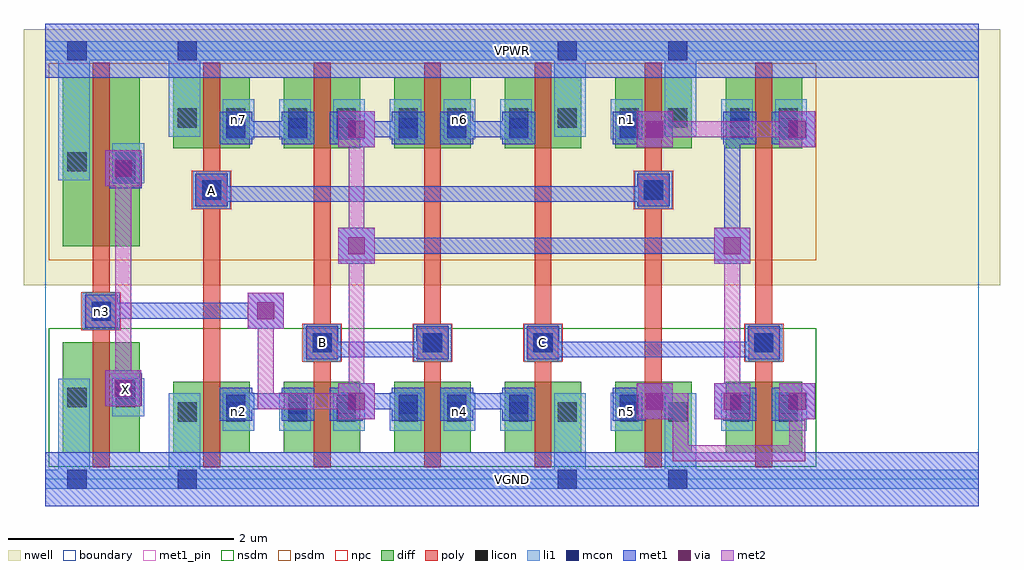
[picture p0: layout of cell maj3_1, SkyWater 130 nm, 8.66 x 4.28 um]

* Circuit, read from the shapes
.subckt maj3_1 A B C VGND VPWR X n1 n2 n3 n4 n5 n6 n7
XM1 X n3 VGND VSUBS sky130_fd_pr__nfet_01v8 w=0.98 l=0.15
XM2 n2 A VGND VSUBS sky130_fd_pr__nfet_01v8 w=0.63 l=0.15
XM3 n3 B n2 VSUBS sky130_fd_pr__nfet_01v8 w=0.63 l=0.15
XM4 n4 B n3 VSUBS sky130_fd_pr__nfet_01v8 w=0.63 l=0.15
XM5 VGND C n4 VSUBS sky130_fd_pr__nfet_01v8 w=0.63 l=0.15
XM6 VGND A n5 VSUBS sky130_fd_pr__nfet_01v8 w=0.63 l=0.15
XM7 n5 C n3 VSUBS sky130_fd_pr__nfet_01v8 w=0.63 l=0.15
XM8 X n3 VPWR n8 sky130_fd_pr__pfet_01v8 w=1.5 l=0.15
XM9 n7 A VPWR n8 sky130_fd_pr__pfet_01v8 w=0.63 l=0.15
XM10 n3 B n7 n8 sky130_fd_pr__pfet_01v8 w=0.63 l=0.15
XM11 n6 B n3 n8 sky130_fd_pr__pfet_01v8 w=0.63 l=0.15
XM12 VPWR C n6 n8 sky130_fd_pr__pfet_01v8 w=0.63 l=0.15
XM13 VPWR A n1 n8 sky130_fd_pr__pfet_01v8 w=0.63 l=0.15
XM14 n1 C n3 n8 sky130_fd_pr__pfet_01v8 w=0.63 l=0.15
.ends

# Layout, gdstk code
import gdstk
lib = gdstk.Library(unit=1e-6, precision=1e-09)
def R(c, l, rs):  # rectangles x0, y0, x1, y1
    for r in rs: c.add(gdstk.rectangle(r[:2], r[2:], *l))
def A(c, l, x, y, w, h, nx, ny, dx, dy):  # array of equal rectangles
    R(c, l, [(x+i*dx, y+j*dy, x+i*dx+w, y+j*dy+h) for i in range(nx) for j in range(ny)])
nwell = (64, 20)
diff = (65, 20)
poly = (66, 20)
licon = (66, 44)
li1 = (67, 20)
mcon = (67, 44)
met1_pin = (68, 16)
met1 = (68, 20)
via = (68, 44)
met2 = (69, 20)
nsdm = (93, 44)
psdm = (94, 20)
npc = (95, 20)
boundary = (235, 4)

maj3_1 = lib.new_cell('maj3_1')
R(maj3_1, nwell, [(-0.19,1.72,8.47,3.99), (0,1.72,8.28,3.99)])
A(maj3_1, diff, 1.135, 0.235, 0.68, 0.63, 6, 2, 0.98, 2.7)
R(maj3_1, diff, [(0.155,0.235,0.835,1.215), (0.155,2.065,0.835,3.565)])
A(maj3_1, poly, 0.42, 0.105, 0.15, 3.59, 7, 1, 0.98, 0)
A(maj3_1, poly, 2.32, 1.04, 0.27, 0.34, 3, 1, 0.98, 0)
R(maj3_1, poly, [(6.24,1.04,6.51,1.38), (0.36,1.32,0.63,1.66), (1.34,2.395,1.61,2.735), (5.26,2.395,5.53,2.735)])
A(maj3_1, licon, 2.37, 1.125, 0.17, 0.17, 3, 1, 0.98, 0)
R(maj3_1, licon, [(1.175,0.51,1.345,0.68), (1.605,0.51,1.775,0.68), (2.155,0.51,2.325,0.68), (2.585,0.51,2.755,0.68), (3.135,0.51,3.305,0.68), (3.565,0.51,3.735,0.68), (4.115,0.51,4.285,0.68), (4.545,0.51,4.715,0.68), (5.095,0.51,5.265,0.68), (5.525,0.51,5.695,0.68), (6.075,0.51,6.245,0.68), (6.505,0.51,6.675,0.68), (0.195,0.64,0.365,0.81), (0.625,0.64,0.795,0.81), (6.29,1.125,6.46,1.295), (0.41,1.405,0.58,1.575), (1.39,2.48,1.56,2.65), (5.31,2.48,5.48,2.65), (0.195,2.73,0.365,2.9), (0.625,2.73,0.795,2.9), (1.175,3.12,1.345,3.29), (1.605,3.12,1.775,3.29), (2.155,3.12,2.325,3.29), (2.585,3.12,2.755,3.29), (3.135,3.12,3.305,3.29), (3.565,3.12,3.735,3.29), (4.115,3.12,4.285,3.29), (4.545,3.12,4.715,3.29), (5.095,3.12,5.265,3.29), (5.525,3.12,5.695,3.29), (6.075,3.12,6.245,3.29), (6.505,3.12,6.675,3.29)])
A(maj3_1, li1, 4.035, 0.43, 0.28, 0.335, 3, 1, 0.98, 0)
A(maj3_1, li1, 2.29, 1.045, 0.33, 0.33, 3, 1, 0.98, 0)
A(maj3_1, li1, 4.035, 3.015, 0.28, 0.355, 3, 1, 0.98, 0)
R(maj3_1, li1, [(0,-0.085,8.28,0.085), (0.115,-0.085,0.395,0.89), (1.095,-0.085,1.375,0.76), (4.515,-0.085,4.795,0.76), (5.495,-0.085,5.775,0.76), (1.575,0.43,1.855,0.765), (2.075,0.43,2.355,0.765), (2.555,0.43,2.835,0.765), (3.055,0.43,3.335,0.765), (3.535,0.43,3.815,0.765), (6.475,0.43,6.755,0.765), (0.595,0.56,0.875,0.895), (6.21,1.045,6.54,1.375), (0.33,1.325,0.66,1.655), (1.31,2.4,1.64,2.73), (5.23,2.4,5.56,2.73), (0.595,2.625,0.875,2.98), (0.115,2.65,0.395,3.885), (1.575,3.015,1.855,3.37), (2.075,3.015,2.355,3.37), (2.555,3.015,2.835,3.37), (3.055,3.015,3.335,3.37), (3.535,3.015,3.815,3.37), (6.475,3.015,6.755,3.37), (1.095,3.04,1.375,3.885), (4.515,3.04,4.795,3.885), (5.495,3.04,5.775,3.885), (0,3.715,8.28,3.885)])
A(maj3_1, mcon, 4.115, 0.58, 0.17, 0.17, 3, 2, 0.98, 2.45)
A(maj3_1, mcon, 2.37, 1.125, 0.17, 0.17, 3, 1, 0.98, 0)
R(maj3_1, mcon, [(0.195,-0.085,0.365,0.085), (1.175,-0.085,1.345,0.085), (4.545,-0.085,4.715,0.085), (5.525,-0.085,5.695,0.085), (1.605,0.58,1.775,0.75), (2.155,0.58,2.325,0.75), (2.585,0.58,2.755,0.75), (3.135,0.58,3.305,0.75), (3.565,0.58,3.735,0.75), (6.505,0.58,6.675,0.75), (0.625,0.71,0.795,0.88), (6.29,1.125,6.46,1.295), (0.41,1.405,0.58,1.575), (1.39,2.48,1.56,2.65), (5.31,2.48,5.48,2.65), (0.625,2.64,0.795,2.81), (1.605,3.03,1.775,3.2), (2.155,3.03,2.325,3.2), (2.585,3.03,2.755,3.2), (3.135,3.03,3.305,3.2), (3.565,3.03,3.735,3.2), (6.505,3.03,6.675,3.2), (0.195,3.715,0.365,3.885), (1.175,3.715,1.345,3.885), (4.545,3.715,4.715,3.885), (5.525,3.715,5.695,3.885)])
R(maj3_1, met1_pin, [(0,-0.24,8.28,0.24), (0.565,0.65,0.855,0.94), (2.31,1.065,2.6,1.355), (4.27,1.065,4.56,1.355), (1.33,2.42,1.62,2.71), (0,3.56,8.28,4.04)])
A(maj3_1, met1, 4.055, 0.52, 0.29, 0.29, 3, 2, 0.98, 2.45)
A(maj3_1, met1, 1.655, 0.62, 0.14, 0.14, 3, 2, 0.46, 2.415)
A(maj3_1, met1, 3.15, 0.62, 0.14, 0.14, 3, 2, 0.46, 2.415)
A(maj3_1, met1, 2.31, 1.065, 0.29, 0.29, 3, 1, 0.98, 0)
R(maj3_1, met1, [(0,-0.24,8.28,0.24), (1.545,0.52,1.835,0.81), (2.095,0.52,2.385,0.81), (2.525,0.52,2.815,0.81), (3.075,0.52,3.365,0.81), (3.505,0.52,3.795,0.81), (6.445,0.52,6.735,0.81), (2.6,0.53,2.92,0.85), (5.245,0.53,5.565,0.85), (5.935,0.53,6.255,0.85), (6.51,0.53,6.83,0.85), (1.655,0.62,2.255,0.76), (2.575,0.62,2.83,0.76), (2.69,0.62,3.29,0.76), (3.61,0.62,4.21,0.76), (5.105,0.62,5.245,0.76), (5.105,0.62,5.475,0.76), (6.025,0.62,6.165,0.76), (6.485,0.62,6.625,0.76), (6.485,0.62,6.74,0.76), (0.53,0.645,0.85,0.965), (0.565,0.65,0.855,0.94), (0.62,0.735,0.76,0.875), (6.23,1.065,6.52,1.355), (2.46,1.08,2.6,1.22), (2.46,1.08,3.52,1.22), (3.38,1.08,3.52,1.22), (4.415,1.08,4.555,1.22), (4.415,1.08,6.395,1.22), (6.255,1.08,6.395,1.22), (1.795,1.335,2.115,1.655), (0.35,1.345,0.64,1.635), (0.39,1.425,0.53,1.565), (0.39,1.425,2.025,1.565), (2.6,1.91,2.92,2.23), (5.935,1.91,6.255,2.23), (2.69,2,6.165,2.14), (6.025,2,6.165,3.175), (1.33,2.42,1.62,2.71), (5.25,2.42,5.54,2.71), (1.425,2.46,1.565,2.6), (1.425,2.46,5.475,2.6), (5.335,2.46,5.475,2.6), (0.565,2.58,0.855,2.87), (0.53,2.6,0.85,2.92), (0.62,2.69,0.76,2.83), (2.6,2.945,2.92,3.265), (5.245,2.945,5.565,3.265), (6.51,2.945,6.83,3.265), (1.545,2.97,1.835,3.26), (2.095,2.97,2.385,3.26), (2.525,2.97,2.815,3.26), (3.075,2.97,3.365,3.26), (3.505,2.97,3.795,3.26), (6.445,2.97,6.735,3.26), (1.655,3.035,2.255,3.175), (2.575,3.035,2.83,3.175), (2.69,3.035,3.29,3.175), (3.61,3.035,4.21,3.175), (5.105,3.035,5.245,3.175), (5.105,3.035,5.475,3.175), (6.025,3.035,6.165,3.175), (6.485,3.035,6.625,3.175), (6.485,3.035,6.74,3.175), (0,3.56,8.28,4.04)])
R(maj3_1, via, [(2.685,0.615,2.835,0.765), (5.33,0.615,5.48,0.765), (6.02,0.615,6.17,0.765), (6.595,0.615,6.745,0.765), (0.615,0.73,0.765,0.88), (1.88,1.42,2.03,1.57), (2.685,1.995,2.835,2.145), (6.02,1.995,6.17,2.145), (0.615,2.685,0.765,2.835), (2.685,3.03,2.835,3.18), (5.33,3.03,5.48,3.18), (6.595,3.03,6.745,3.18)])
R(maj3_1, met2, [(5.565,0.16,5.705,0.76), (5.565,0.16,6.74,0.3), (6.6,0.16,6.74,0.76), (2.6,0.53,2.92,0.85), (5.245,0.53,5.565,0.85), (5.935,0.53,6.255,0.85), (6.51,0.53,6.83,0.85), (1.885,0.62,2.025,1.565), (1.885,0.62,2.83,0.76), (2.69,0.62,2.83,3.175), (5.335,0.62,5.705,0.76), (6.025,0.62,6.165,2.14), (0.53,0.645,0.85,0.965), (0.62,0.735,0.76,2.83), (1.795,1.335,2.115,1.655), (2.6,1.91,2.92,2.23), (5.935,1.91,6.255,2.23), (0.53,2.6,0.85,2.92), (2.6,2.945,2.92,3.265), (5.245,2.945,5.565,3.265), (6.51,2.945,6.83,3.265), (5.335,3.035,6.74,3.175)])
R(maj3_1, nsdm, [(0.03,0.11,6.84,1.34)])
R(maj3_1, psdm, [(0.03,1.94,6.84,3.69)])
A(maj3_1, npc, 2.28, 1.04, 0.35, 0.34, 3, 1, 0.98, 0)
R(maj3_1, npc, [(6.2,1.04,6.55,1.38), (0.32,1.32,0.67,1.66), (1.3,2.395,1.65,2.735), (5.22,2.395,5.57,2.735)])
R(maj3_1, boundary, [(0,0,8.28,3.8)])
maj3_1.add(gdstk.Label('n3', (0.495,1.49), layer=67, texttype=5))
maj3_1.add(gdstk.Label('n2', (1.715,0.597), layer=67, texttype=5))
maj3_1.add(gdstk.Label('n7', (1.715,3.192), layer=67, texttype=5))
maj3_1.add(gdstk.Label('n4', (3.675,0.597), layer=67, texttype=5))
maj3_1.add(gdstk.Label('n6', (3.675,3.192), layer=67, texttype=5))
maj3_1.add(gdstk.Label('n5', (5.155,0.597), layer=67, texttype=5))
maj3_1.add(gdstk.Label('n1', (5.155,3.192), layer=67, texttype=5))
maj3_1.add(gdstk.Label('A', (1.475,2.565), layer=68, texttype=5))
maj3_1.add(gdstk.Label('B', (2.455,1.21), layer=68, texttype=5))
maj3_1.add(gdstk.Label('C', (4.415,1.21), layer=68, texttype=5))
maj3_1.add(gdstk.Label('X', (0.71,0.795), layer=68, texttype=5))
maj3_1.add(gdstk.Label('VPWR', (4.14,3.8), layer=68, texttype=5))
maj3_1.add(gdstk.Label('VGND', (4.14,0), layer=68, texttype=5))
maj3_1.add(gdstk.Label('A', (1.475,2.565), layer=68, texttype=16))
maj3_1.add(gdstk.Label('B', (2.455,1.21), layer=68, texttype=16))
maj3_1.add(gdstk.Label('C', (4.415,1.21), layer=68, texttype=16))
maj3_1.add(gdstk.Label('X', (0.71,0.795), layer=68, texttype=16))
maj3_1.add(gdstk.Label('VPWR', (4.14,3.8), layer=68, texttype=16))
maj3_1.add(gdstk.Label('VGND', (4.14,0), layer=68, texttype=16))

lib.write_gds('maj3_1.gds')
